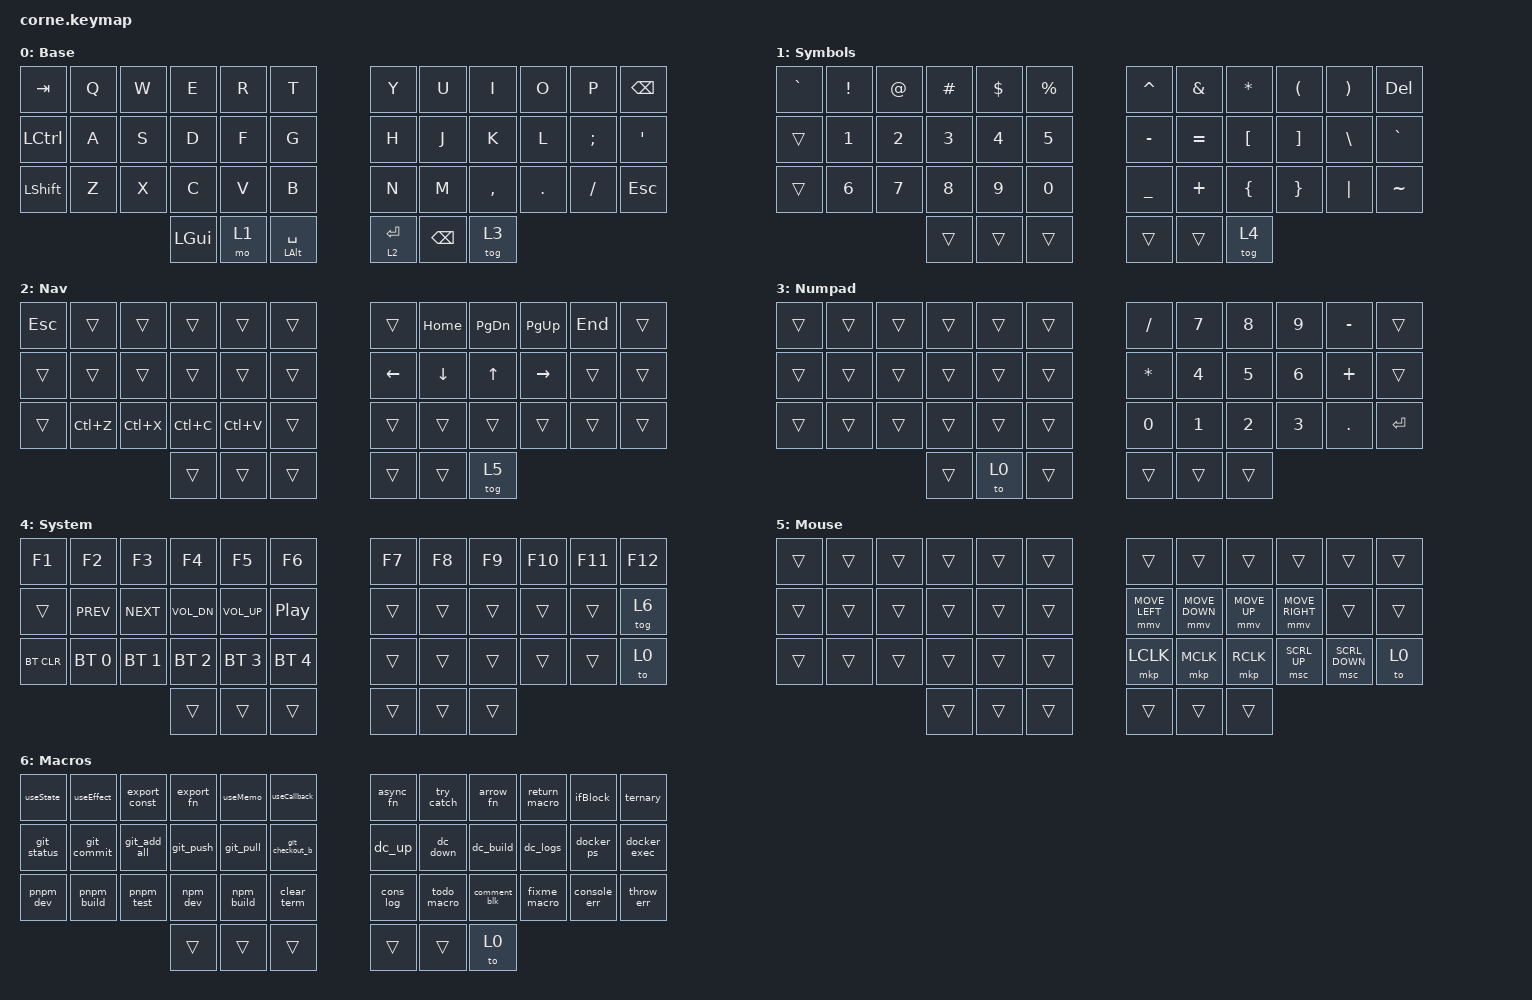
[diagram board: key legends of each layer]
/*
 * Copyright (c) 2020 The ZMK Contributors
 *
 * SPDX-License-Identifier: MIT
 *
 * Layout de Programação para Corne Keyboard
 * ==========================================
 * Layer 0: Base QWERTY
 * Layer 1: Símbolos + Números
 * Layer 2: Navegação (Vim-style)
 * Layer 3: Numpad
 * Layer 4: Sistema / Hardware (F-keys, Mídia, Bluetooth)
 * Layer 5: Mouse
 * Layer 6: Macros de Desenvolvimento
 */

#include <behaviors.dtsi>
#include <dt-bindings/zmk/keys.h>
#include <dt-bindings/zmk/bt.h>
#include <dt-bindings/zmk/mouse.h>

/ {
    behaviors {
        // Hold-tap: Toque = Space, Segura = Alt
        alt_spc: alt_space {
            compatible = "zmk,behavior-hold-tap";
            label = "ALT_SPACE";
            #binding-cells = <2>;
            tapping-term-ms = <200>;
            quick-tap-ms = <150>;
            flavor = "balanced";
            bindings = <&kp>, <&kp>;
        };

        // Hold-tap: Toque = Enter, Segura = Layer 2
        ent_l2: enter_layer2 {
            compatible = "zmk,behavior-hold-tap";
            label = "ENTER_LAYER2";
            #binding-cells = <2>;
            tapping-term-ms = <200>;
            quick-tap-ms = <150>;
            flavor = "balanced";
            bindings = <&mo>, <&kp>;
        };
    };

    macros {
        // Macro: Arrow Function () => {}
        arrow_fn: arrow_function {
            compatible = "zmk,behavior-macro";
            label = "ARROW_FUNCTION";
            #binding-cells = <0>;
            wait-ms = <10>;
            tap-ms = <10>;
            bindings = <&kp LPAR &kp RPAR &kp SPACE &kp EQUAL &kp GT &kp SPACE &kp LBRC &kp RBRC>;
        };

        // Macro: console.log()
        cons_log: console_log {
            compatible = "zmk,behavior-macro";
            label = "CONSOLE_LOG";
            #binding-cells = <0>;
            wait-ms = <10>;
            tap-ms = <10>;
            bindings = <&kp C &kp O &kp N &kp S &kp O &kp L &kp E &kp DOT &kp L &kp O &kp G &kp LPAR &kp RPAR>;
        };

        // Macro: Comentário de bloco /* */
        comment_blk: comment_block {
            compatible = "zmk,behavior-macro";
            label = "COMMENT_BLOCK";
            #binding-cells = <0>;
            wait-ms = <10>;
            tap-ms = <10>;
            bindings = <&kp FSLH &kp ASTRK &kp SPACE &kp SPACE &kp ASTRK &kp FSLH &kp LEFT &kp LEFT &kp LEFT>;
        };

        // =====================================================================
        // Macros React
        // =====================================================================
        
        // Macro: export const Component = () => {}
        export_const: export_const {
            compatible = "zmk,behavior-macro";
            label = "EXPORT_CONST";
            #binding-cells = <0>;
            wait-ms = <10>;
            tap-ms = <10>;
            bindings = <&kp E &kp X &kp P &kp O &kp R &kp T &kp SPACE &kp C &kp O &kp N &kp S &kp T &kp SPACE &kp C &kp O &kp M &kp P &kp O &kp N &kp E &kp N &kp T &kp SPACE &kp EQUAL &kp SPACE &kp LPAR &kp RPAR &kp SPACE &kp EQUAL &kp GT &kp SPACE &kp LBRC &kp RBRC>;
        };

        // Macro: const [state, setState] = useState();
        useState: useState {
            compatible = "zmk,behavior-macro";
            label = "USE_STATE";
            #binding-cells = <0>;
            wait-ms = <10>;
            tap-ms = <10>;
            bindings = <&kp C &kp O &kp N &kp S &kp T &kp SPACE &kp LBKT &kp S &kp T &kp A &kp T &kp E &kp COMMA &kp SPACE &kp S &kp E &kp T &kp S &kp T &kp A &kp T &kp E &kp RBKT &kp SPACE &kp EQUAL &kp SPACE &kp U &kp S &kp E &kp S &kp T &kp A &kp T &kp E &kp LPAR &kp RPAR &kp SEMI>;
        };

        // Macro: useEffect(() => {}, []);
        useEffect: useEffect {
            compatible = "zmk,behavior-macro";
            label = "USE_EFFECT";
            #binding-cells = <0>;
            wait-ms = <10>;
            tap-ms = <10>;
            bindings = <&kp U &kp S &kp E &kp E &kp F &kp F &kp E &kp C &kp T &kp LPAR &kp LPAR &kp RPAR &kp SPACE &kp EQUAL &kp GT &kp SPACE &kp LBRC &kp RBRC &kp COMMA &kp SPACE &kp LBKT &kp RBKT &kp RPAR &kp SEMI>;
        };

        // Macro: export default function Component() {}
        export_fn: export_function {
            compatible = "zmk,behavior-macro";
            label = "EXPORT_FUNCTION";
            #binding-cells = <0>;
            wait-ms = <10>;
            tap-ms = <10>;
            bindings = <&kp E &kp X &kp P &kp O &kp R &kp T &kp SPACE &kp D &kp E &kp F &kp A &kp U &kp L &kp T &kp SPACE &kp F &kp U &kp N &kp C &kp T &kp I &kp O &kp N &kp SPACE &kp C &kp O &kp M &kp P &kp O &kp N &kp E &kp N &kp T &kp LPAR &kp RPAR &kp SPACE &kp LBRC &kp RBRC>;
        };

        // =====================================================================
        // Macros JavaScript/TypeScript
        // =====================================================================

        // Macro: async () => {}
        async_fn: async_function {
            compatible = "zmk,behavior-macro";
            label = "ASYNC_FUNCTION";
            #binding-cells = <0>;
            wait-ms = <10>;
            tap-ms = <10>;
            bindings = <&kp A &kp S &kp Y &kp N &kp C &kp SPACE &kp LPAR &kp RPAR &kp SPACE &kp EQUAL &kp GT &kp SPACE &kp LBRC &kp RBRC>;
        };

        // Macro: try {} catch (e) {}
        try_catch: try_catch {
            compatible = "zmk,behavior-macro";
            label = "TRY_CATCH";
            #binding-cells = <0>;
            wait-ms = <10>;
            tap-ms = <10>;
            bindings = <&kp T &kp R &kp Y &kp SPACE &kp LBRC &kp RBRC &kp SPACE &kp C &kp A &kp T &kp C &kp H &kp SPACE &kp LPAR &kp E &kp RPAR &kp SPACE &kp LBRC &kp RBRC>;
        };

        // Macro: return
        return_macro: return_macro {
            compatible = "zmk,behavior-macro";
            label = "RETURN";
            #binding-cells = <0>;
            wait-ms = <10>;
            tap-ms = <10>;
            bindings = <&kp R &kp E &kp T &kp U &kp R &kp N>;
        };

        // =====================================================================
        // Macros Git
        // =====================================================================

        // Macro: git status
        git_status: git_status {
            compatible = "zmk,behavior-macro";
            label = "GIT_STATUS";
            #binding-cells = <0>;
            wait-ms = <10>;
            tap-ms = <10>;
            bindings = <&kp G &kp I &kp T &kp SPACE &kp S &kp T &kp A &kp T &kp U &kp S &kp RET>;
        };

        // Macro: git commit -m ""
        git_commit: git_commit {
            compatible = "zmk,behavior-macro";
            label = "GIT_COMMIT";
            #binding-cells = <0>;
            wait-ms = <10>;
            tap-ms = <10>;
            bindings = <&kp G &kp I &kp T &kp SPACE &kp C &kp O &kp M &kp M &kp I &kp T &kp SPACE &kp MINUS &kp M &kp SPACE &kp SQT &kp SQT &kp LEFT>;
        };

        // Macro: git add .
        git_add_all: git_add_all {
            compatible = "zmk,behavior-macro";
            label = "GIT_ADD_ALL";
            #binding-cells = <0>;
            wait-ms = <10>;
            tap-ms = <10>;
            bindings = <&kp G &kp I &kp T &kp SPACE &kp A &kp D &kp D &kp SPACE &kp DOT &kp RET>;
        };

        // Macro: git push
        git_push: git_push {
            compatible = "zmk,behavior-macro";
            label = "GIT_PUSH";
            #binding-cells = <0>;
            wait-ms = <10>;
            tap-ms = <10>;
            bindings = <&kp G &kp I &kp T &kp SPACE &kp P &kp U &kp S &kp H &kp RET>;
        };

        // =====================================================================
        // Macros Docker
        // =====================================================================

        // Macro: docker compose up -d
        dc_up: docker_compose_up {
            compatible = "zmk,behavior-macro";
            label = "DC_UP";
            #binding-cells = <0>;
            wait-ms = <10>;
            tap-ms = <10>;
            bindings = <&kp D &kp O &kp C &kp K &kp E &kp R &kp SPACE &kp C &kp O &kp M &kp P &kp O &kp S &kp E &kp SPACE &kp U &kp P &kp SPACE &kp MINUS &kp D &kp RET>;
        };

        // Macro: docker compose down
        dc_down: docker_compose_down {
            compatible = "zmk,behavior-macro";
            label = "DC_DOWN";
            #binding-cells = <0>;
            wait-ms = <10>;
            tap-ms = <10>;
            bindings = <&kp D &kp O &kp C &kp K &kp E &kp R &kp SPACE &kp C &kp O &kp M &kp P &kp O &kp S &kp E &kp SPACE &kp D &kp O &kp W &kp N &kp RET>;
        };

        // Macro: docker compose build
        dc_build: docker_compose_build {
            compatible = "zmk,behavior-macro";
            label = "DC_BUILD";
            #binding-cells = <0>;
            wait-ms = <10>;
            tap-ms = <10>;
            bindings = <&kp D &kp O &kp C &kp K &kp E &kp R &kp SPACE &kp C &kp O &kp M &kp P &kp O &kp S &kp E &kp SPACE &kp B &kp U &kp I &kp L &kp D &kp RET>;
        };

        // =====================================================================
        // Macros Terminal / Package Managers
        // =====================================================================

        // Macro: pnpm dev
        pnpm_dev: pnpm_dev {
            compatible = "zmk,behavior-macro";
            label = "PNPM_DEV";
            #binding-cells = <0>;
            wait-ms = <10>;
            tap-ms = <10>;
            bindings = <&kp P &kp N &kp P &kp M &kp SPACE &kp D &kp E &kp V &kp RET>;
        };

        // Macro: pnpm build
        pnpm_build: pnpm_build {
            compatible = "zmk,behavior-macro";
            label = "PNPM_BUILD";
            #binding-cells = <0>;
            wait-ms = <10>;
            tap-ms = <10>;
            bindings = <&kp P &kp N &kp P &kp M &kp SPACE &kp B &kp U &kp I &kp L &kp D &kp RET>;
        };

        // Macro: TODO comment
        todo_macro: todo_macro {
            compatible = "zmk,behavior-macro";
            label = "TODO";
            #binding-cells = <0>;
            wait-ms = <10>;
            tap-ms = <10>;
            bindings = <&kp FSLH &kp FSLH &kp SPACE &kp T &kp O &kp D &kp O &kp COLON &kp SPACE>;
        };

        // Macro: useMemo(() => {}, []);
        useMemo: useMemo {
            compatible = "zmk,behavior-macro";
            label = "USE_MEMO";
            #binding-cells = <0>;
            wait-ms = <10>;
            tap-ms = <10>;
            bindings = <&kp U &kp S &kp E &kp M &kp E &kp M &kp O &kp LPAR &kp LPAR &kp RPAR &kp SPACE &kp EQUAL &kp GT &kp SPACE &kp LBRC &kp RBRC &kp COMMA &kp SPACE &kp LBKT &kp RBKT &kp RPAR &kp SEMI>;
        };

        // Macro: useCallback(() => {}, []);
        useCallback: useCallback {
            compatible = "zmk,behavior-macro";
            label = "USE_CALLBACK";
            #binding-cells = <0>;
            wait-ms = <10>;
            tap-ms = <10>;
            bindings = <&kp U &kp S &kp E &kp C &kp A &kp L &kp L &kp B &kp A &kp C &kp K &kp LPAR &kp LPAR &kp RPAR &kp SPACE &kp EQUAL &kp GT &kp SPACE &kp LBRC &kp RBRC &kp COMMA &kp SPACE &kp LBKT &kp RBKT &kp RPAR &kp SEMI>;
        };

        // Macro: if () {}
        ifBlock: if_block {
            compatible = "zmk,behavior-macro";
            label = "IF_BLOCK";
            #binding-cells = <0>;
            wait-ms = <10>;
            tap-ms = <10>;
            bindings = <&kp I &kp F &kp SPACE &kp LPAR &kp RPAR &kp SPACE &kp LBRC &kp RBRC>;
        };

        // Macro: condition ? true : false
        ternary: ternary {
            compatible = "zmk,behavior-macro";
            label = "TERNARY";
            #binding-cells = <0>;
            wait-ms = <10>;
            tap-ms = <10>;
            bindings = <&kp SPACE &kp QMARK &kp SPACE &kp T &kp R &kp U &kp E &kp SPACE &kp COLON &kp SPACE &kp F &kp A &kp L &kp S &kp E>;
        };

        // Macro: for (const x of y) {}
        forOf: for_of {
            compatible = "zmk,behavior-macro";
            label = "FOR_OF";
            #binding-cells = <0>;
            wait-ms = <10>;
            tap-ms = <10>;
            bindings = <&kp F &kp O &kp R &kp SPACE &kp LPAR &kp C &kp O &kp N &kp S &kp T &kp SPACE &kp X &kp SPACE &kp O &kp F &kp SPACE &kp Y &kp RPAR &kp SPACE &kp LBRC &kp RBRC>;
        };

        // Macro: .map(item => {})
        mapFn: map_function {
            compatible = "zmk,behavior-macro";
            label = "MAP_FUNCTION";
            #binding-cells = <0>;
            wait-ms = <10>;
            tap-ms = <10>;
            bindings = <&kp DOT &kp M &kp A &kp P &kp LPAR &kp I &kp T &kp E &kp M &kp SPACE &kp EQUAL &kp GT &kp SPACE &kp LBRC &kp RBRC &kp RPAR>;
        };

        // Macro: .filter(item => {})
        filterFn: filter_function {
            compatible = "zmk,behavior-macro";
            label = "FILTER_FUNCTION";
            #binding-cells = <0>;
            wait-ms = <10>;
            tap-ms = <10>;
            bindings = <&kp DOT &kp F &kp I &kp L &kp T &kp E &kp R &kp LPAR &kp I &kp T &kp E &kp M &kp SPACE &kp EQUAL &kp GT &kp SPACE &kp LBRC &kp RBRC &kp RPAR>;
        };

        // Macro: git pull
        git_pull: git_pull {
            compatible = "zmk,behavior-macro";
            label = "GIT_PULL";
            #binding-cells = <0>;
            wait-ms = <10>;
            tap-ms = <10>;
            bindings = <&kp G &kp I &kp T &kp SPACE &kp P &kp U &kp L &kp L &kp RET>;
        };

        // Macro: git checkout -b
        git_checkout_b: git_checkout_b {
            compatible = "zmk,behavior-macro";
            label = "GIT_CHECKOUT_B";
            #binding-cells = <0>;
            wait-ms = <10>;
            tap-ms = <10>;
            bindings = <&kp G &kp I &kp T &kp SPACE &kp C &kp H &kp E &kp C &kp K &kp O &kp U &kp T &kp SPACE &kp MINUS &kp B &kp SPACE>;
        };

        // Macro: git log --oneline --graph
        git_log: git_log {
            compatible = "zmk,behavior-macro";
            label = "GIT_LOG";
            #binding-cells = <0>;
            wait-ms = <10>;
            tap-ms = <10>;
            bindings = <&kp G &kp I &kp T &kp SPACE &kp L &kp O &kp G &kp SPACE &kp MINUS &kp MINUS &kp O &kp N &kp E &kp L &kp I &kp N &kp E &kp SPACE &kp MINUS &kp MINUS &kp G &kp R &kp A &kp P &kp H &kp RET>;
        };

        // Macro: git diff
        git_diff: git_diff {
            compatible = "zmk,behavior-macro";
            label = "GIT_DIFF";
            #binding-cells = <0>;
            wait-ms = <10>;
            tap-ms = <10>;
            bindings = <&kp G &kp I &kp T &kp SPACE &kp D &kp I &kp F &kp F &kp RET>;
        };

        // Macro: docker compose logs -f
        dc_logs: docker_compose_logs {
            compatible = "zmk,behavior-macro";
            label = "DC_LOGS";
            #binding-cells = <0>;
            wait-ms = <10>;
            tap-ms = <10>;
            bindings = <&kp D &kp O &kp C &kp K &kp E &kp R &kp SPACE &kp C &kp O &kp M &kp P &kp O &kp S &kp E &kp SPACE &kp L &kp O &kp G &kp S &kp SPACE &kp MINUS &kp F &kp RET>;
        };

        // Macro: docker ps
        docker_ps: docker_ps {
            compatible = "zmk,behavior-macro";
            label = "DOCKER_PS";
            #binding-cells = <0>;
            wait-ms = <10>;
            tap-ms = <10>;
            bindings = <&kp D &kp O &kp C &kp K &kp E &kp R &kp SPACE &kp P &kp S &kp RET>;
        };

        // Macro: docker exec -it
        docker_exec: docker_exec {
            compatible = "zmk,behavior-macro";
            label = "DOCKER_EXEC";
            #binding-cells = <0>;
            wait-ms = <10>;
            tap-ms = <10>;
            bindings = <&kp D &kp O &kp C &kp K &kp E &kp R &kp SPACE &kp E &kp X &kp E &kp C &kp SPACE &kp MINUS &kp I &kp T &kp SPACE>;
        };

        // Macro: npm run dev
        npm_dev: npm_dev {
            compatible = "zmk,behavior-macro";
            label = "NPM_DEV";
            #binding-cells = <0>;
            wait-ms = <10>;
            tap-ms = <10>;
            bindings = <&kp N &kp P &kp M &kp SPACE &kp R &kp U &kp N &kp SPACE &kp D &kp E &kp V &kp RET>;
        };

        // Macro: npm run build
        npm_build: npm_build {
            compatible = "zmk,behavior-macro";
            label = "NPM_BUILD";
            #binding-cells = <0>;
            wait-ms = <10>;
            tap-ms = <10>;
            bindings = <&kp N &kp P &kp M &kp SPACE &kp R &kp U &kp N &kp SPACE &kp B &kp U &kp I &kp L &kp D &kp RET>;
        };

        // Macro: pnpm test
        pnpm_test: pnpm_test {
            compatible = "zmk,behavior-macro";
            label = "PNPM_TEST";
            #binding-cells = <0>;
            wait-ms = <10>;
            tap-ms = <10>;
            bindings = <&kp P &kp N &kp P &kp M &kp SPACE &kp T &kp E &kp S &kp T &kp RET>;
        };

        // Macro: clear
        clear_term: clear_terminal {
            compatible = "zmk,behavior-macro";
            label = "CLEAR";
            #binding-cells = <0>;
            wait-ms = <10>;
            tap-ms = <10>;
            bindings = <&kp C &kp L &kp E &kp A &kp R &kp RET>;
        };

        // Macro: // FIXME:
        fixme_macro: fixme_macro {
            compatible = "zmk,behavior-macro";
            label = "FIXME";
            #binding-cells = <0>;
            wait-ms = <10>;
            tap-ms = <10>;
            bindings = <&kp FSLH &kp FSLH &kp SPACE &kp F &kp I &kp X &kp M &kp E &kp COLON &kp SPACE>;
        };

        // Macro: console.error()
        console_err: console_error {
            compatible = "zmk,behavior-macro";
            label = "CONSOLE_ERROR";
            #binding-cells = <0>;
            wait-ms = <10>;
            tap-ms = <10>;
            bindings = <&kp C &kp O &kp N &kp S &kp O &kp L &kp E &kp DOT &kp E &kp R &kp R &kp O &kp R &kp LPAR &kp RPAR>;
        };

        // Macro: throw new Error()
        throw_err: throw_error {
            compatible = "zmk,behavior-macro";
            label = "THROW_ERROR";
            #binding-cells = <0>;
            wait-ms = <10>;
            tap-ms = <10>;
            bindings = <&kp T &kp H &kp R &kp O &kp W &kp SPACE &kp N &kp E &kp W &kp SPACE &kp E &kp R &kp R &kp O &kp R &kp LPAR &kp RPAR &kp SEMI>;
        };
    };

    combos {
        compatible = "zmk,combos";

        // Combo: Ctrl+C (Copy) - Pressiona C + V juntos
        combo_copy {
            bindings = <&kp LC(C)>;
            key-positions = <27 28>;  // C + V
            timeout-ms = <50>;
            layers = <0>;
        };

        // Combo: Ctrl+V (Paste) - Pressiona V + B juntos
        combo_paste {
            bindings = <&kp LC(V)>;
            key-positions = <28 29>;  // V + B
            timeout-ms = <50>;
            layers = <0>;
        };

        // Combo: Ctrl+Z (Undo) - Pressiona Z + X juntos
        combo_undo {
            bindings = <&kp LC(Z)>;
            key-positions = <25 26>;  // Z + X
            timeout-ms = <50>;
            layers = <0>;
        };

        // Combo: Ctrl+Y (Redo) - Pressiona X + C juntos
        combo_redo {
            bindings = <&kp LC(Y)>;
            key-positions = <26 27>;  // X + C
            timeout-ms = <50>;
            layers = <0>;
        };

        // Combo: Ctrl+S (Save) - Pressiona S + D juntos
        combo_save {
            bindings = <&kp LC(S)>;
            key-positions = <14 15>;  // S + D
            timeout-ms = <50>;
            layers = <0>;
        };

        // Combo: Caps Lock - Pressiona Left Shift + Z juntos
        combo_capslock {
            bindings = <&kp CAPS>;
            key-positions = <24 25>;  // LSHFT + Z
            timeout-ms = <50>;
            layers = <0>;
        };

        // Combo: Ctrl+/ (Comment Line - VS Code) - Pressiona Q + W juntos
        combo_comment {
            bindings = <&kp LC(FSLH)>;
            key-positions = <1 2>;  // Q + W
            timeout-ms = <50>;
            layers = <0>;
        };

        // Combo: Ctrl+F (Find) - Pressiona F + G juntos
        combo_find {
            bindings = <&kp LC(F)>;
            key-positions = <16 17>;  // F + G
            timeout-ms = <50>;
            layers = <0>;
        };

        // Combo: ESC rápido - Pressiona J + K juntos
        combo_esc {
            bindings = <&kp ESC>;
            key-positions = <19 20>;  // J + K
            timeout-ms = <50>;
            layers = <0>;
        };
    };

    keymap {
        compatible = "zmk,keymap";

        // =====================================================================
        // Layer 0: Base QWERTY
        // =====================================================================
        default_layer {
            display-name = "Base";
// -----------------------------------------------------------------------------------------
// | TAB  |  Q  |  W  |  E  |  R  |  T  |   |  Y  |  U  |  I  |  O  |  P  | BSPC |
// | CTRL |  A  |  S  |  D  |  F  |  G  |   |  H  |  J  |  K  |  L  |  ;  |  '   |
// | SHFT |  Z  |  X  |  C  |  V  |  B  |   |  N  |  M  |  ,  |  .  |  /  | ESC  |
//                    | GUI | L1  |ALT/SPC|   |ENT/L2| BSPC| L3  |
            bindings = <
   &kp TAB   &kp Q &kp W &kp E &kp R &kp T   &kp Y &kp U  &kp I     &kp O   &kp P    &kp BSPC
   &kp LCTRL &kp A &kp S &kp D &kp F &kp G   &kp H &kp J  &kp K     &kp L   &kp SEMI &kp SQT
   &kp LSHFT &kp Z &kp X &kp C &kp V &kp B   &kp N &kp M  &kp COMMA &kp DOT &kp FSLH &kp ESC
            &kp LGUI &mo 1 &alt_spc LALT SPACE   &ent_l2 2 RET &kp BSPC &tog 3
            >;
        };

        // =====================================================================
        // Layer 1: Símbolos e Números (Programação)
        // =====================================================================
        symbols_layer {
            display-name = "Symbols";
// -----------------------------------------------------------------------------------------
// |  `   |  !  |  @  |  #  |  $  |  %  |   |  ^  |  &  |  *  |  (  |  )  | DEL  |
// |      |  1  |  2  |  3  |  4  |  5  |   |  -  |  =  |  [  |  ]  |  \  |  `   |
// |      |  6  |  7  |  8  |  9  |  0  |   |  _  |  +  |  {  |  }  |  |  |  ~   |
//                    |     |     |     |   |     |     | L4  |
            bindings = <
   &kp GRAVE &kp EXCL &kp AT &kp HASH &kp DLLR &kp PRCNT   &kp CARET &kp AMPS  &kp ASTRK &kp LPAR &kp RPAR &kp DEL
   &trans    &kp N1   &kp N2 &kp N3   &kp N4   &kp N5      &kp MINUS &kp EQUAL &kp LBKT  &kp RBKT &kp BSLH &kp GRAVE
   &trans    &kp N6   &kp N7 &kp N8   &kp N9   &kp N0      &kp UNDER &kp PLUS  &kp LBRC  &kp RBRC &kp PIPE &kp TILDE
                             &trans   &trans   &trans      &trans    &trans    &tog 4
            >;
        };

        // =====================================================================
        // Layer 2: Navegação (Vim-style HJKL)
        // =====================================================================
        navigation_layer {
            display-name = "Nav";
// -----------------------------------------------------------------------------------------
// | ESC  |     |     |     |     |     |   |     | HOME| PGDN| PGUP| END |      |
// |      |     |     |     |     |     |   | LEFT| DOWN|  UP |RIGHT|     |      |
// |      |UNDO |CUT  |COPY |PASTE|     |   |     |     |     |     |     |      |
//                    |     |     |     |   |     |     |     |
            bindings = <
   &kp ESC &trans    &trans    &trans    &trans    &trans      &trans   &kp HOME &kp PG_DN &kp PG_UP &kp END   &trans
   &trans  &trans    &trans    &trans    &trans    &trans      &kp LEFT &kp DOWN &kp UP    &kp RIGHT &trans    &trans
   &trans  &kp LC(Z) &kp LC(X) &kp LC(C) &kp LC(V) &trans      &trans   &trans   &trans    &trans    &trans    &trans
                               &trans    &trans    &trans      &trans   &trans   &tog 5
            >;
        };

        // =====================================================================
        // Layer 3: Numpad
        // =====================================================================
        numpad_layer {
            display-name = "Numpad";
// -----------------------------------------------------------------------------------------
// |      |     |     |     |     |     |   |  /  |  7  |  8  |  9  |  -  |      |
// |      |     |     |     |     |     |   |  *  |  4  |  5  |  6  |  +  |      |
// |      |     |     |     |     |     |   |  0  |  1  |  2  |  3  |  .  | ENT  |
//                    |     | L0  |     |   |     |     |     |
            bindings = <
   &trans &trans &trans &trans &trans &trans   &kp FSLH &kp N7 &kp N8 &kp N9 &kp MINUS &trans
   &trans &trans &trans &trans &trans &trans   &kp ASTRK &kp N4 &kp N5 &kp N6 &kp PLUS &trans
   &trans &trans &trans &trans &trans &trans   &kp N0   &kp N1 &kp N2 &kp N3 &kp DOT  &kp RET
                        &trans &to 0  &trans   &trans   &trans &trans
            >;
        };

        // =====================================================================
        // Layer 4: Sistema / Hardware (F-keys, Mídia, Bluetooth)
        // =====================================================================
        fkeys_layer {
            display-name = "System";
// -----------------------------------------------------------------------------------------
// |  F1  |  F2 |  F3 |  F4 |  F5 |  F6 |   |  F7 |  F8 |  F9 | F10 | F11 | F12  |
// |      |PREV |NEXT |VOL- |VOL+ |PLAY |   |     |     |     |     |     | L6   |
// |BTCLR | BT1 | BT2 | BT3 | BT4 | BT5 |   |     |     |     |     |     | L0   |
//                    |     |     |     |   |     |     |     |
            bindings = <
   &kp F1     &kp F2       &kp F3       &kp F4       &kp F5       &kp F6         &kp F7     &kp F8    &kp F9      &kp F10 &kp F11 &kp F12
   &trans     &kp C_PREV   &kp C_NEXT   &kp C_VOL_DN &kp C_VOL_UP &kp C_PP       &trans     &trans    &trans      &trans  &trans  &tog 6
   &bt BT_CLR &bt BT_SEL 0 &bt BT_SEL 1 &bt BT_SEL 2 &bt BT_SEL 3 &bt BT_SEL 4   &trans     &trans    &trans      &trans  &trans  &to 0
                                        &trans       &trans       &trans         &trans     &trans    &trans
            >;
        };

        // =====================================================================
        // Layer 5: Mouse
        // =====================================================================
        mouse_layer {
            display-name = "Mouse";
// -----------------------------------------------------------------------------------------
// |      |     |     |     |     |     |   |     |     |     |     |     |      |
// |      |     |     |     |     |     |   | M_L | M_D | M_U | M_R |     |      |
// |      |     |     |     |     |     |   |LCLK |MCLK |RCLK |SC_U |SC_D | L0   |
//                    |     |     |     |   |     |     |     |
            bindings = <
   &trans &trans &trans &trans &trans &trans   &trans          &trans          &trans          &trans           &trans          &trans
   &trans &trans &trans &trans &trans &trans   &mmv MOVE_LEFT  &mmv MOVE_DOWN  &mmv MOVE_UP    &mmv MOVE_RIGHT  &trans          &trans
   &trans &trans &trans &trans &trans &trans   &mkp LCLK       &mkp MCLK       &mkp RCLK       &msc SCRL_UP     &msc SCRL_DOWN  &to 0
                        &trans &trans &trans   &trans          &trans          &trans
            >;
        };

        // =====================================================================
        // Layer 6: Macros de Desenvolvimento
        // =====================================================================
        macros_layer {
            display-name = "Macros";
// -----------------------------------------------------------------------------------------
// |React |React|React|React|React|React|   |JS/TS|JS/TS|JS/TS|JS/TS|JS/TS|JS/TS |
// |Git   |Git  |Git  |Git  |Git |Git |   |Dock |Dock |Dock |Dock |Dock |Dock  |
// |Term  |Term |Term |Term |Term|Term|   |Util |Util |Util |Util |Util |Util  |
//                    |     |     |     |   |     |     |     |
            bindings = <
   &useState &useEffect &export_const &export_fn &useMemo &useCallback   &async_fn &try_catch &arrow_fn &return_macro &ifBlock &ternary
   &git_status &git_commit &git_add_all &git_push &git_pull &git_checkout_b   &dc_up &dc_down &dc_build &dc_logs &docker_ps &docker_exec
   &pnpm_dev &pnpm_build &pnpm_test &npm_dev &npm_build &clear_term   &cons_log &todo_macro &comment_blk &fixme_macro &console_err &throw_err
                        &trans &trans &trans   &trans &trans &to 0
            >;
        };
    };
};
